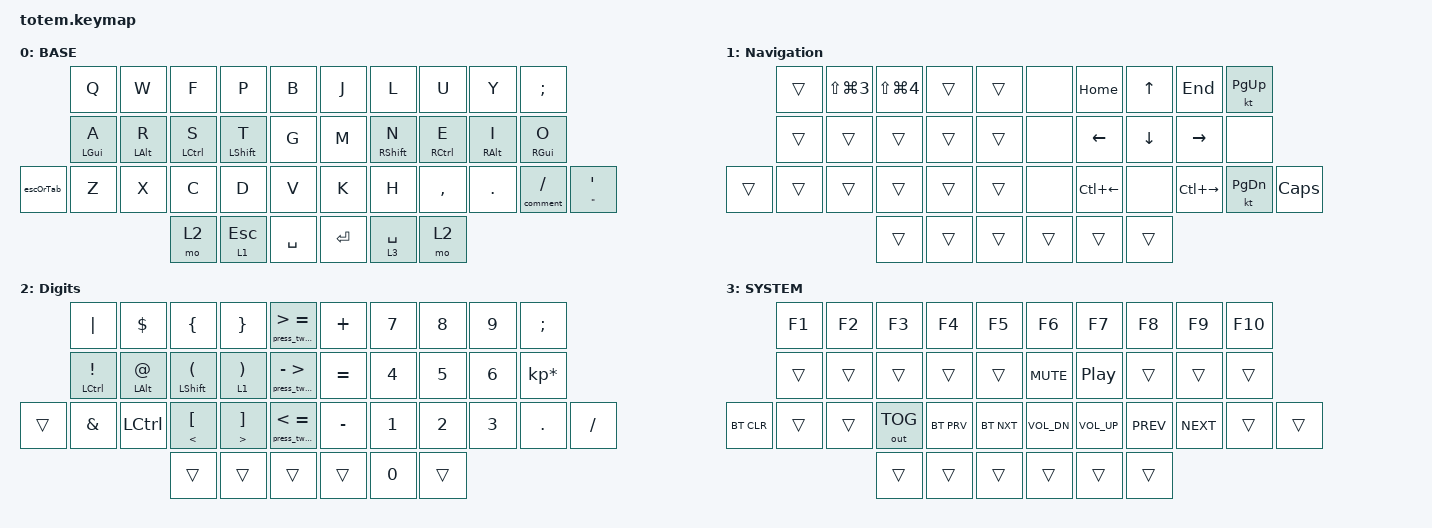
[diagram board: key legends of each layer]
//
//                                                        ▀▀▀▀▀     ▀▀▀▀▀          ▀▀█▀▀
//                                                        ▄▀▀▀▄  ▄  ▄▀▀▀▄  ▄  ▄▀▀▀▄  █  ▄▀▀▀▄
//                                                        █   █  █  █   █  █  █   █  █  █   █
//                                                         ▀▀▀   █   ▀▀▀   █   ▀▀▀   ▀   ▀▀▀
//                                                               █      ▄▄▄█▄▄▄    █   █
//                                                               ▀      █  █  █     █▄█
//                                                             ▀▀▀▀▀    █  █  █      ▀
//                                                                      ▀  ▀  ▀
//
// ▄▄▄▄▄▄▄▄▄▄▄▄▄▄▄▄▄▄▄▄▄▄▄▄▄▄▄▄▄▄▄▄▄▄▄▄▄▄▄▄▄▄▄▄▄▄▄▄▄▄▄▄▄▄▄▄▄▄▄▄▄▄▄▄▄▄▄▄▄▄▄▄▄▄▄▄▄▄▄▄▄▄▄▄▄▄▄▄▄▄▄▄▄▄▄▄▄▄▄▄▄▄▄▄▄▄▄▄▄▄▄▄▄▄▄▄▄▄▄▄▄▄▄▄▄▄▄▄▄▄▄▄▄▄▄▄▄▄▄▄▄▄▄▄▄▄▄▄▄

#include "zmk-helpers/helper.h"
#include "zmk-helpers/key-labels/totem.h"
#include <behaviors.dtsi>
#include <dt-bindings/zmk/bt.h>
#include <dt-bindings/zmk/keys.h>
#include <dt-bindings/zmk/outputs.h>

#define BASE 0
#define NAV  1
#define DIG  2
#define SYS  3
#define QUICK_TAP_MS 175

/* Timeless homerow mods */
// https://github.com/urob/zmk-config/tree/main#timeless-homerow-mods

#define KEYS_L LT0 LT1 LT2 LT3 LT4 LM0 LM1 LM2 LM3 LM4 LB0 LB1 LB2 LB3 LB4 LB5  // left hand
#define KEYS_R RT0 RT1 RT2 RT3 RT4 RM0 RM1 RM2 RM3 RM4 RB0 RB1 RB2 RB3 RB4 RB5  // right hand
#define THUMBS LH2 LH1 LH0 RH0 RH1 RH2 // thumb cluster for both hands

// proper urob's home row, uncomment it if you are not going to use visual editor
//#define MAKE_HRM(NAME, HOLD, TAP, TRIGGER_POS) \
//    ZMK_HOLD_TAP(NAME, \
//        flavor = "balanced"; \
//        tapping-term-ms = <280>; \
//        quick-tap-ms = <QUICK_TAP_MS>; \
//        require-prior-idle-ms = <150>; \
//        bindings = <HOLD>, <TAP>; \
//        hold-trigger-key-positions = <TRIGGER_POS>; \
//        hold-trigger-on-release; \
//    )
//
//MAKE_HRM(hml, &kp, &kp, KEYS_R THUMBS)  // left-hand HRMs
//MAKE_HRM(hmr, &kp, &kp, KEYS_L THUMBS)  // right-hand HRMs
//MAKE_HRM(hml_layer, &mo, &kp, KEYS_R THUMBS) // switch layer like HRM

&mt {
    quick-tap-ms = <100>;
    global-quick-tap;
    flavor = "tap-preferred";
    tapping-term-ms = <170>;
};

/ {
    combos {
        compatible = "zmk,combos";

        backspace {
            bindings = <&kp BACKSPACE>;
            key-positions = <16 17>;
            timeout-ms = <70>;
        };

        opt_backspace {
            bindings = <&kp DEL>;
            key-positions = <16 17 18>;
            timeout-ms = <70>;
        };

        shift {
            bindings = <&sk LEFT_SHIFT>;
            key-positions = <13 12>;
            timeout-ms = <100>;
        };

        to_digits_layer {
            bindings = <&to 3>;
            key-positions = <32 37>;
        };

        caps-words {
            bindings = <&caps_word>;
            key-positions = <11 12 13>;
        };
    };

    macros {
        /**
         * Temporarily switches to a layer (`&mo`) while a modifier is held.
         * Analogous to QMK's `LM()`, using a parameterized macro.
         *
         * Params:
         *  1. Layer to switch to
         *  2. Modifier to press while layer is active
         *
         * Example:
         *  `&lm NUM_LAYER LSHIFT`
         */

        lm: lm {
            compatible = "zmk,behavior-macro-two-param";
            wait-ms = <0>;
            tap-ms = <0>;
            #binding-cells = <2>;
            bindings =
                <&macro_param_1to1>,
                <&macro_press>,
                <&mo MACRO_PLACEHOLDER &macro_param_2to1>,
                <&macro_press>,
                <&kp MACRO_PLACEHOLDER>,
                <&macro_pause_for_release>,
                <&macro_param_2to1>,
                <&macro_release>,
                <&kp MACRO_PLACEHOLDER &macro_param_1to1>,
                <&macro_release>,
                <&mo MACRO_PLACEHOLDER>;
        };

        press_two_keys: press_two_keys {
            compatible = "zmk,behavior-macro-two-param";
            wait-ms = <0>;
            tap-ms = <0>;
            #binding-cells = <2>;
            bindings =
                <&macro_param_1to1>,
                <&macro_tap>,
                <&kp MACRO_PLACEHOLDER &macro_param_2to1>,
                <&macro_tap>,
                <&kp MACRO_PLACEHOLDER>;
        };

        more_or_equal: more_or_equal {
            compatible = "zmk,behavior-macro";
            #binding-cells = <0>;
            bindings = <&kp MINUS &kp GT>;
            label = "MORE_OR_EQUAL";
        };

        less_or_equal: less_or_equal {
            compatible = "zmk,behavior-macro";
            #binding-cells = <0>;
            bindings = <&kp LT &kp EQUAL>;
            label = "LESS_OR_EQUAL";
        };

        fun_arrow_right: fun_arrow_right {
            compatible = "zmk,behavior-macro";
            #binding-cells = <0>;
            bindings = <&kp MINUS &kp GT>;
            label = "FUN_ARROW_RIGHT";
        };

        comment: comment {
            compatible = "zmk,behavior-macro";
            #binding-cells = <0>;
            bindings = <&kp FSLH &kp STAR>;
            label = "MACROS_COMMENT";
        };
    };

    behaviors {
        // this is homerow mod that works identical to urob's one, but this one allows visual editor to understand

        hml: hml {
            compatible = "zmk,behavior-hold-tap";
            label = "HML";
            bindings = <&kp>, <&kp>;

            #binding-cells = <2>;
            tapping-term-ms = <280>;
            quick-tap-ms = <175>;
            require-prior-idle-ms = <150>;
            flavor = "balanced";
            hold-trigger-key-positions = <KEYS_R THUMBS>;
            hold-trigger-on-release;
        };

        hmr: hmr {
            compatible = "zmk,behavior-hold-tap";
            label = "HMR";
            bindings = <&kp>, <&kp>;

            #binding-cells = <2>;
            tapping-term-ms = <280>;
            quick-tap-ms = <175>;
            require-prior-idle-ms = <150>;
            flavor = "balanced";
            hold-trigger-key-positions = <KEYS_L THUMBS>;
            hold-trigger-on-release;
        };

        comment_or: comment_or {
            compatible = "zmk,behavior-hold-tap";
            label = "slash_or_comm";
            bindings = <&comment>, <&kp>;

            #binding-cells = <2>;
            tapping-term-ms = <200>;
            flavor = "tap-preferred";
        };

        escOrTab: escOrTab {
            compatible = "zmk,behavior-mod-morph";
            #binding-cells = <0>;
            bindings = <&kp ESC>, <&kp TAB>;
            mods = <(MOD_LSFT|MOD_RSFT)>;
        };
    };

    keymap {
        compatible = "zmk,keymap";

        ColemakDH {
            label = "BASE";
            bindings = <
             &kp Q        &kp W        &kp F         &kp P         &kp B        &kp J    &kp L         &kp U         &kp Y             &kp SEMICOLON
             &hml LGUI A  &hml LALT R  &hml LCTRL S  &hml LSHFT T  &kp G        &kp M    &hmr RSHFT N  &hmr RCTRL E  &hmr RIGHT_ALT I  &hmr RGUI O
&escOrTab    &kp Z        &kp X        &kp C         &kp D         &kp V        &kp K    &kp H         &kp COMMA     &kp DOT           &comment_or 0 SLASH  &mt DOUBLE_QUOTES SQT
                                       &mo 2         &lt 1 ESC     &kp SPACE    &kp RET  &lt 3 SPACE   &mo 2
            >;
        };

        Navigation {
            label = "Navigation";
            bindings = <
        &trans  &kp LS(LG(NUMBER_3))  &kp LS(LG(NUMBER_4))  &trans  &trans    &none   &kp HOME      &kp UP    &kp END        &kt PAGE_UP
        &trans  &trans                &trans                &trans  &trans    &none   &kp LEFT      &kp DOWN  &kp RIGHT      &none
&trans  &trans  &trans                &trans                &trans  &trans    &none   &kp LC(LEFT)  &none     &kp LC(RIGHT)  &kt PAGE_DOWN  &kp CAPSLOCK
                                      &trans                &trans  &trans    &trans  &trans        &trans
            >;
        };

        digits {
            label = "Digits";
            bindings = <
        &kp PIPE                &kp DOLLAR             &kp LEFT_BRACE               &kp RIGHT_BRACE                 &press_two_keys GREATER_THAN EQUAL    &kp PLUS   &kp N7  &kp N8  &kp N9  &kp SEMICOLON
        &hml LCTRL EXCLAMATION  &hml LEFT_ALT AT_SIGN  &hml LSHFT LEFT_PARENTHESIS  &lt 1 RIGHT_PARENTHESIS         &press_two_keys MINUS GREATER_THAN    &kp EQUAL  &kp N4  &kp N5  &kp N6  &kp KP_MULTIPLY
&trans  &kp AMPERSAND           &kp LCTRL              &mt LESS_THAN LEFT_BRACKET   &mt GREATER_THAN RIGHT_BRACKET  &press_two_keys LESS_THAN EQUAL       &kp MINUS  &kp N1  &kp N2  &kp N3  &kp PERIOD       &kp SLASH
                                                       &trans                       &trans                          &trans                                &trans     &kp N0  &trans
            >;
        };

        sim_layer {
            label = "SYSTEM";
            bindings = <
            &kp F1  &kp F2  &kp F3        &kp F4      &kp F5        &kp F6        &kp F7        &kp F8      &kp F9      &kp F10
            &trans  &trans  &trans        &trans      &trans        &kp C_MUTE    &kp C_PP      &trans      &trans      &trans
&bt BT_CLR  &trans  &trans  &out OUT_TOG  &bt BT_PRV  &bt BT_NXT    &kp C_VOL_DN  &kp C_VOL_UP  &kp C_PREV  &kp C_NEXT  &trans   &trans
                            &trans        &trans      &trans        &trans        &trans        &trans
            >;
        };
    };
};
